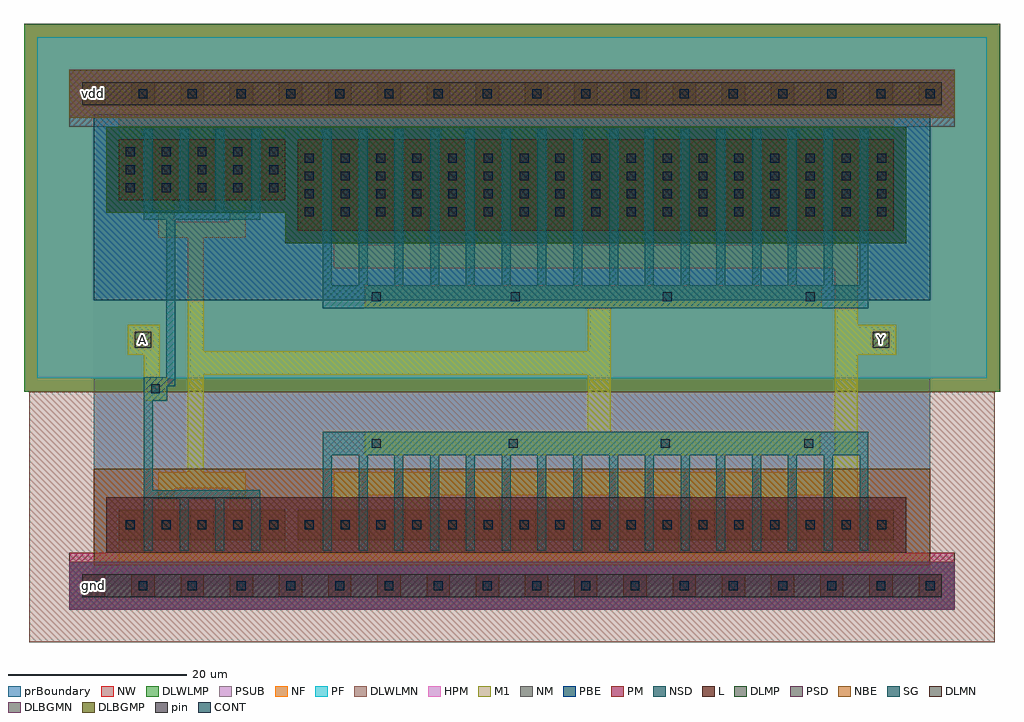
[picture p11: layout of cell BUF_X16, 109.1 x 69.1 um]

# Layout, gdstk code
import gdstk
lib = gdstk.Library(unit=1e-6, precision=1e-09)
def R(c, l, rs):  # rectangles x0, y0, x1, y1
    for r in rs: c.add(gdstk.rectangle(r[:2], r[2:], *l))
def A(c, l, x, y, w, h, nx, ny, dx, dy):  # array of equal rectangles
    R(c, l, [(x+i*dx, y+j*dy, x+i*dx+w, y+j*dy+h) for i in range(nx) for j in range(ny)])
def P(c, l, *ps):  # polygons
    for p in ps: c.add(gdstk.Polygon(p, *l))
L = (3, 0)
NM = (7, 0)
SG = (8, 0)
PSD = (9, 0)
CONT = (11, 0)
M1 = (13, 0)
NF = (25, 0)
PF = (26, 0)
NSD = (28, 0)
HPM = (33, 0)
PM = (35, 0)
NW = (36, 0)
pin = (48, 1)
PSUB = (140, 0)
PBE = (146, 0)
NBE = (147, 0)
DLWLMP = (150, 0)
DLWLMN = (151, 0)
DLMP = (157, 0)
DLMN = (158, 0)
DLBGMP = (177, 0)
DLBGMN = (178, 0)
prBoundary = (235, 0)

buf_x16 = lib.new_cell('BUF_X16')
A(buf_x16, L, -1.3, -1.3, 2.6, 2.6, 18, 2, 5.5, 55)
R(buf_x16, L, [(2.8,5.1,21.4,8.5), (22.8,5.1,89.4,8.5), (22.8,39.7,89.4,49.9), (2.8,43.1,21.4,49.9)])
R(buf_x16, NM, [(-2.75,-2.7,96.25,2.7)])
P(buf_x16, NM, [(21.4,38.3),(21.4,41.7),(1.4,41.7),(1.4,51.3),(-2.75,51.3),(-2.75,57.7),(96.25,57.7),(96.25,51.3),(90.8,51.3),(90.8,38.3)])
P(buf_x16, SG, [(25.6,3.9),(25.6,17.2),(86.6,17.2),(86.6,3.9),(85.6,3.9),(85.6,14.6),(82.6,14.6),(82.6,3.9),(81.6,3.9),(81.6,14.6),(78.6,14.6),(78.6,3.9),(77.6,3.9),(77.6,14.6),(74.6,14.6),(74.6,3.9),(73.6,3.9),(73.6,14.6),(70.6,14.6),(70.6,3.9),(69.6,3.9),(69.6,14.6),(66.6,14.6),(66.6,3.9),(65.6,3.9),(65.6,14.6),(62.6,14.6),(62.6,3.9),(61.6,3.9),(61.6,14.6),(58.6,14.6),(58.6,3.9),(57.6,3.9),(57.6,14.6),(54.6,14.6),(54.6,3.9),(53.6,3.9),(53.6,14.6),(50.6,14.6),(50.6,3.9),(49.6,3.9),(49.6,14.6),(46.6,14.6),(46.6,3.9),(45.6,3.9),(45.6,14.6),(42.6,14.6),(42.6,3.9),(41.6,3.9),(41.6,14.6),(38.6,14.6),(38.6,3.9),(37.6,3.9),(37.6,14.6),(34.6,14.6),(34.6,3.9),(33.6,3.9),(33.6,14.6),(30.6,14.6),(30.6,3.9),(29.6,3.9),(29.6,14.6),(26.6,14.6),(26.6,3.9)],
  [(5.6,3.9),(5.6,23.3),(8.1,23.3),(8.1,40.9),(5.6,40.9),(5.6,51.1),(6.6,51.1),(6.6,41.9),(9.6,41.9),(9.6,51.1),(10.6,51.1),(10.6,41.9),(13.6,41.9),(13.6,51.1),(14.6,51.1),(14.6,41.9),(17.6,41.9),(17.6,51.1),(18.6,51.1),(18.6,40.9),(9.1,40.9),(9.1,22.3),(8.2,22.3),(8.2,20.7),(6.6,20.7),(6.6,10.7),(18.6,10.7),(18.6,3.9),(17.6,3.9),(17.6,9.7),(14.6,9.7),(14.6,3.9),(13.6,3.9),(13.6,9.7),(10.6,9.7),(10.6,3.9),(9.6,3.9),(9.6,9.7),(6.6,9.7),(6.6,3.9)],
  [(25.6,31),(25.6,51.1),(26.6,51.1),(26.6,33.6),(29.6,33.6),(29.6,51.1),(30.6,51.1),(30.6,33.6),(33.6,33.6),(33.6,51.1),(34.6,51.1),(34.6,33.6),(37.6,33.6),(37.6,51.1),(38.6,51.1),(38.6,33.6),(41.6,33.6),(41.6,51.1),(42.6,51.1),(42.6,33.6),(45.6,33.6),(45.6,51.1),(46.6,51.1),(46.6,33.6),(49.6,33.6),(49.6,51.1),(50.6,51.1),(50.6,33.6),(53.6,33.6),(53.6,51.1),(54.6,51.1),(54.6,33.6),(57.6,33.6),(57.6,51.1),(58.6,51.1),(58.6,33.6),(61.6,33.6),(61.6,51.1),(62.6,51.1),(62.6,33.6),(65.6,33.6),(65.6,51.1),(66.6,51.1),(66.6,33.6),(69.6,33.6),(69.6,51.1),(70.6,51.1),(70.6,33.6),(73.6,33.6),(73.6,51.1),(74.6,51.1),(74.6,33.6),(77.6,33.6),(77.6,51.1),(78.6,51.1),(78.6,33.6),(81.6,33.6),(81.6,51.1),(82.6,51.1),(82.6,33.6),(85.6,33.6),(85.6,51.1),(86.6,51.1),(86.6,31)])
R(buf_x16, PSD, [(1.4,3.7,90.8,9.9), (-2.75,52.3,96.25,57.7)])
A(buf_x16, CONT, -0.5, -0.5, 1, 1, 18, 2, 5.5, 55)
A(buf_x16, CONT, 3.6, 6.3, 1, 1, 22, 1, 4, 0)
A(buf_x16, CONT, 23.6, 41.3, 1, 1, 17, 4, 4, 2)
A(buf_x16, CONT, 3.6, 44, 1, 1, 5, 3, 4, 2)
R(buf_x16, CONT, [(31.1,15.4,32.1,16.4), (46.4,15.4,47.4,16.4), (63.4,15.4,64.4,16.4), (79.4,15.4,80.4,16.4), (6.4,21.5,7.4,22.5), (31.1,31.8,32.1,32.8), (46.6,31.8,47.6,32.8), (63.6,31.8,64.6,32.8), (79.6,31.8,80.6,32.8)])
P(buf_x16, M1, [(-1.3,-1.3),(-1.3,1.3),(2.8,1.3),(2.8,8.5),(5.4,8.5),(5.4,3.7),(10.8,3.7),(10.8,8.5),(13.4,8.5),(13.4,3.7),(18.8,3.7),(18.8,8.5),(21.4,8.5),(21.4,3.7),(22.8,3.7),(22.8,8.5),(25.4,8.5),(25.4,3.7),(30.8,3.7),(30.8,8.5),(33.4,8.5),(33.4,3.7),(38.8,3.7),(38.8,8.5),(41.4,8.5),(41.4,3.7),(46.8,3.7),(46.8,8.5),(49.4,8.5),(49.4,3.7),(54.8,3.7),(54.8,8.5),(57.4,8.5),(57.4,3.7),(62.8,3.7),(62.8,8.5),(65.4,8.5),(65.4,3.7),(70.8,3.7),(70.8,8.5),(73.4,8.5),(73.4,3.7),(78.8,3.7),(78.8,8.5),(81.4,8.5),(81.4,3.7),(85.4,3.7),(85.4,1.3),(86.8,1.3),(86.8,8.5),(89.4,8.5),(89.4,1.3),(94.8,1.3),(94.8,-1.3)],
  [(5.6,20.7),(5.6,25.8),(3.8,25.8),(3.8,29.2),(7.4,29.2),(7.4,23.3),(8.2,23.3),(8.2,20.7)],
  [(6.8,5.1),(6.8,8.5),(7.2,8.5),(7.2,12.7),(10.5,12.7),(10.5,38.9),(7.2,38.9),(7.2,43.1),(6.8,43.1),(6.8,49.9),(9.4,49.9),(9.4,43.1),(9,43.1),(9,40.7),(15.2,40.7),(15.2,43.1),(14.8,43.1),(14.8,49.9),(17.4,49.9),(17.4,43.1),(17,43.1),(17,38.9),(12.3,38.9),(12.3,26.2),(55.2,26.2),(55.2,31),(30.3,31),(30.3,33.6),(81.4,33.6),(81.4,31),(57.8,31),(57.8,17.2),(81.2,17.2),(81.2,14.6),(30.3,14.6),(30.3,17.2),(55.2,17.2),(55.2,23.6),(12.3,23.6),(12.3,12.7),(17,12.7),(17,8.5),(17.4,8.5),(17.4,5.1),(14.8,5.1),(14.8,8.5),(15.2,8.5),(15.2,10.9),(9,10.9),(9,8.5),(9.4,8.5),(9.4,5.1)],
  [(26.8,5.1),(26.8,12.7),(82.8,12.7),(82.8,35.5),(26.8,35.5),(26.8,49.9),(29.4,49.9),(29.4,38.1),(34.8,38.1),(34.8,49.9),(37.4,49.9),(37.4,38.1),(42.8,38.1),(42.8,49.9),(45.4,49.9),(45.4,38.1),(50.8,38.1),(50.8,49.9),(53.4,49.9),(53.4,38.1),(58.8,38.1),(58.8,49.9),(61.4,49.9),(61.4,38.1),(66.8,38.1),(66.8,49.9),(69.4,49.9),(69.4,38.1),(74.8,38.1),(74.8,49.9),(77.4,49.9),(77.4,38.1),(82.8,38.1),(82.8,49.9),(85.4,49.9),(85.4,29.2),(89.7,29.2),(89.7,25.8),(85.4,25.8),(85.4,5.1),(82.8,5.1),(82.8,10.1),(77.4,10.1),(77.4,5.1),(74.8,5.1),(74.8,10.1),(69.4,10.1),(69.4,5.1),(66.8,5.1),(66.8,10.1),(61.4,10.1),(61.4,5.1),(58.8,5.1),(58.8,10.1),(53.4,10.1),(53.4,5.1),(50.8,5.1),(50.8,10.1),(45.4,10.1),(45.4,5.1),(42.8,5.1),(42.8,10.1),(37.4,10.1),(37.4,5.1),(34.8,5.1),(34.8,10.1),(29.4,10.1),(29.4,5.1)],
  [(22.8,39.7),(22.8,51.3),(21.4,51.3),(21.4,43.1),(18.8,43.1),(18.8,51.3),(13.4,51.3),(13.4,43.1),(10.8,43.1),(10.8,51.3),(5.4,51.3),(5.4,43.1),(2.8,43.1),(2.8,53.7),(-1.3,53.7),(-1.3,56.3),(94.8,56.3),(94.8,53.7),(89.4,53.7),(89.4,39.7),(86.8,39.7),(86.8,51.3),(81.4,51.3),(81.4,39.7),(78.8,39.7),(78.8,51.3),(73.4,51.3),(73.4,39.7),(70.8,39.7),(70.8,51.3),(65.4,51.3),(65.4,39.7),(62.8,39.7),(62.8,51.3),(57.4,51.3),(57.4,39.7),(54.8,39.7),(54.8,51.3),(49.4,51.3),(49.4,39.7),(46.8,39.7),(46.8,51.3),(41.4,51.3),(41.4,39.7),(38.8,39.7),(38.8,51.3),(33.4,51.3),(33.4,39.7),(30.8,39.7),(30.8,51.3),(25.4,51.3),(25.4,39.7)])
R(buf_x16, NF, [(-6.3,23.2,99.8,61.3)])
R(buf_x16, PF, [(-6.3,23.2,99.8,61.3)])
R(buf_x16, NSD, [(-2.75,-2.7,96.25,2.7)])
P(buf_x16, NSD, [(21.4,38.3),(21.4,41.7),(1.4,41.7),(1.4,51.3),(90.8,51.3),(90.8,38.3)])
P(buf_x16, HPM, [(-2.75,-2.7),(-2.75,3.7),(1.4,3.7),(1.4,9.9),(90.8,9.9),(90.8,3.7),(96.25,3.7),(96.25,-2.7)],
  [(21.4,38.3),(21.4,41.7),(1.4,41.7),(1.4,51.3),(-2.75,51.3),(-2.75,57.7),(96.25,57.7),(96.25,51.3),(90.8,51.3),(90.8,38.3)])
R(buf_x16, PM, [(-2.75,52.3,96.25,57.7)])
P(buf_x16, PM, [(-2.75,-2.7),(-2.75,3.7),(1.4,3.7),(1.4,9.9),(90.8,9.9),(90.8,3.7),(96.25,3.7),(96.25,-2.7)])
R(buf_x16, NW, [(-7.8,21.7,101.3,62.8)])
R(buf_x16, pin, [(-1.3,-1.3,94.8,1.3), (4.6,26.6,6.4,28.4), (4.6,26.6,6.4,28.4), (87.1,26.6,88.9,28.4), (-1.3,53.7,94.8,56.3)])
R(buf_x16, PSUB, [(-6.3,23.2,99.8,61.3)])
R(buf_x16, PBE, [(0,31.9,93.5,52.7)])
R(buf_x16, NBE, [(0,2.3,93.5,13.1)])
R(buf_x16, DLWLMP, [(-7.8,21.7,101.3,62.8)])
R(buf_x16, DLWLMN, [(-7.2,-6.3,100.7,21.7)])
P(buf_x16, DLMP, [(21.4,38.3),(21.4,41.7),(1.4,41.7),(1.4,51.3),(90.8,51.3),(90.8,38.3)])
R(buf_x16, DLMN, [(1.4,3.7,90.8,9.9)])
R(buf_x16, DLBGMP, [(-2.75,52.3,96.25,57.7)])
R(buf_x16, DLBGMN, [(-2.75,-2.7,96.25,2.7)])
R(buf_x16, prBoundary, [(0,0,93.5,55)])
buf_x16.add(gdstk.Label('vdd', (0,55), layer=48, texttype=0))
buf_x16.add(gdstk.Label('Y', (88,27.5), layer=48, texttype=0))
buf_x16.add(gdstk.Label('A', (5.5,27.5), layer=48, texttype=0))
buf_x16.add(gdstk.Label('A', (5.5,27.5), layer=48, texttype=0))
buf_x16.add(gdstk.Label('gnd', (0,0), layer=48, texttype=0))

lib.write_gds('BUF_X16.gds')
